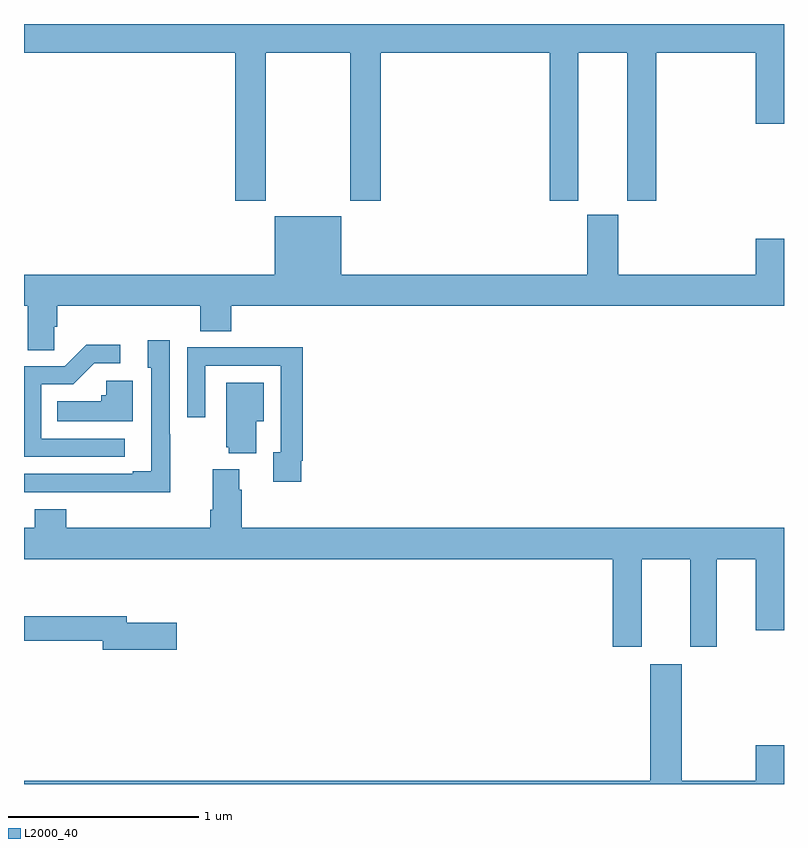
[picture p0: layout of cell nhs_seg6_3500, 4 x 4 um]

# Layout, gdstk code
import gdstk
lib = gdstk.Library(unit=1e-6, precision=1e-09)
def P(c, l, *ps):  # polygons
    for p in ps: c.add(gdstk.Polygon(p, *l))
L2000_40 = (2000, 40)

nhs_seg6_3500 = lib.new_cell('nhs_seg6_3500')
P(nhs_seg6_3500, L2000_40, [(318.273,935.348),(318.718,935.348),(318.718,934.569),(318.878,934.569),(318.878,935.348),(319.766,935.348),(319.766,934.569),(319.918,934.569),(319.918,935.348),(320.174,935.348),(320.174,934.569),(320.327,934.569),(320.327,935.348),(320.852,935.348),(320.852,934.974),(321,934.974),(321,935.5),(317,935.5),(317,935.348),(318.113,935.348),(318.113,934.569),(318.273,934.569)],
  [(317.16,933.907),(317.174,933.907),(317.174,934.016),(317.927,934.016),(317.927,933.883),(318.092,933.883),(318.092,934.016),(321,934.016),(321,934.369),(320.852,934.369),(320.852,934.18),(320.128,934.18),(320.128,934.497),(319.964,934.497),(319.964,934.18),(318.67,934.18),(318.67,934.489),(318.32,934.489),(318.32,934.18),(317,934.18),(317,934.016),(317.021,934.016),(317.021,933.784),(317.16,933.784)],
  [(317.769,933.341),(317.766,933.341),(317.766,933.835),(317.651,933.835),(317.651,933.69),(317.67,933.69),(317.67,933.145),(317.573,933.145),(317.573,933.132),(317,933.132),(317,933.036),(317.305,933.036),(317.305,933.035),(317.769,933.035)],
  [(317.53,933.318),(317.091,933.318),(317.091,933.603),(317.26,933.603),(317.371,933.714),(317.506,933.714),(317.506,933.812),(317.327,933.812),(317.214,933.699),(317,933.699),(317,933.222),(317.53,933.222)],
  [(318.46,933.202),(318.467,933.202),(318.467,933.8),(318.175,933.8),(318.175,933.798),(317.859,933.798),(317.859,933.429),(317.955,933.429),(317.955,933.702),(318.351,933.702),(318.351,933.246),(318.311,933.246),(318.311,933.09),(318.46,933.09)],
  [(317.572,933.622),(317.433,933.622),(317.433,933.546),(317.407,933.546),(317.407,933.514),(317.176,933.514),(317.176,933.41),(317.572,933.41)],
  [(318.223,933.41),(318.262,933.41),(318.262,933.613),(318.065,933.613),(318.065,933.273),(318.077,933.273),(318.077,933.242),(318.223,933.242)],
  [(320.251,932.684),(320.507,932.684),(320.507,932.223),(320.647,932.223),(320.647,932.684),(320.852,932.684),(320.852,932.31),(321,932.31),(321,932.848),(318.146,932.848),(318.146,933.05),(318.133,933.05),(318.133,933.157),(317.993,933.157),(317.993,932.944),(317.981,932.944),(317.981,932.848),(317.222,932.848),(317.222,932.947),(317.057,932.947),(317.057,932.848),(317,932.848),(317,932.684),(320.099,932.684),(320.099,932.223),(320.251,932.223)],
  [(317.803,932.349),(317.542,932.349),(317.542,932.383),(317,932.383),(317,932.254),(317.414,932.254),(317.414,932.207),(317.803,932.207)],
  [(321,931.705),(320.852,931.705),(320.852,931.516),(320.461,931.516),(320.461,932.131),(320.297,932.131),(320.297,931.516),(317,931.516),(317,931.5),(321,931.5)])

lib.write_gds('nhs_seg6_3500.gds')
